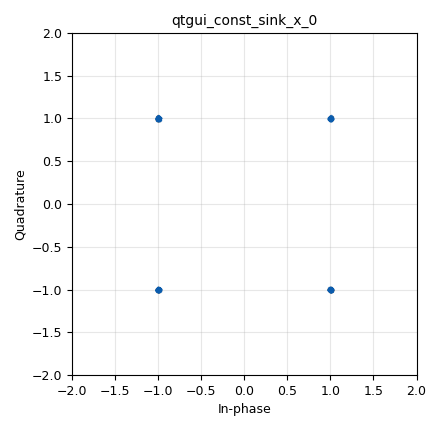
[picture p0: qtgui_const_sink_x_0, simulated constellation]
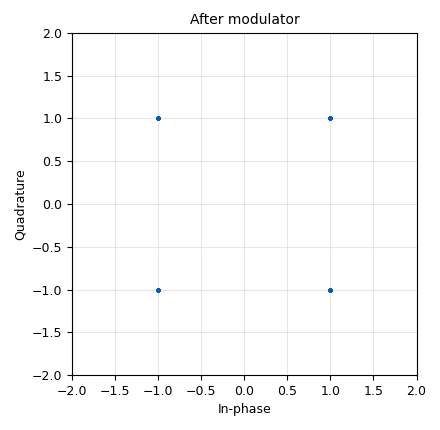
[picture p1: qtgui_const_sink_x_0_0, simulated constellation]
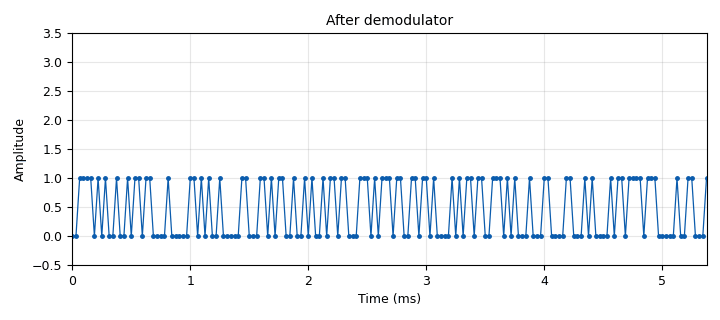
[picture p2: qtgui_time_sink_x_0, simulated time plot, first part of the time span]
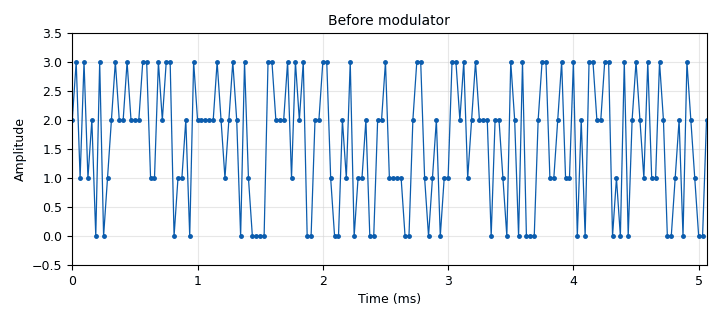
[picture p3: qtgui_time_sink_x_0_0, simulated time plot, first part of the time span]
<?xml version='1.0' encoding='utf-8'?>
<?grc format='1' created='3.7.10'?>
<flow_graph>
<block>
<key>options</key>
<param><key>id</key><value>psk_modulation_demodulation</value></param>
<param><key>author</key><value>Alexandros-Apostolos A. Boulogeorgos</value></param>
<param><key>generate_options</key><value>qt_gui</value></param>
<param><key>title</key><value>PSK  under AWGN</value></param>
</block>
<block>
<key>variable_qtgui_range</key>
<param><key>id</key><value>noise_amplitude</value></param>
<param><key>value</key><value>.01</value></param>
<param><key>orient</key><value>Qt.Horizontal</value></param>
<param><key>start</key><value>0</value></param>
<param><key>step</key><value>.001</value></param>
<param><key>stop</key><value>1</value></param>
</block>
<block>
<key>variable</key>
<param><key>id</key><value>samp_rate</value></param>
<param><key>value</key><value>32000</value></param>
</block>
<block>
<key>analog_noise_source_x</key>
<param><key>id</key><value>analog_noise_source_x_0</value></param>
<param><key>amp</key><value>noise_amplitude</value></param>
<param><key>noise_type</key><value>analog.GR_GAUSSIAN</value></param>
<param><key>type</key><value>complex</value></param>
<param><key>seed</key><value>0</value></param>
</block>
<block>
<key>analog_random_source_x</key>
<param><key>id</key><value>analog_random_source_x_0</value></param>
<param><key>max</key><value>4</value></param>
<param><key>min</key><value>0</value></param>
<param><key>num_samps</key><value>10000</value></param>
<param><key>type</key><value>byte</value></param>
<param><key>repeat</key><value>True</value></param>
</block>
<block>
<key>blocks_add_xx</key>
<param><key>id</key><value>blocks_add_xx_0</value></param>
<param><key>type</key><value>complex</value></param>
</block>
<block>
<key>blocks_throttle</key>
<param><key>id</key><value>blocks_throttle_0</value></param>
<param><key>samples_per_second</key><value>samp_rate</value></param>
<param><key>type</key><value>complex</value></param>
</block>
<block>
<key>blocks_uchar_to_float</key>
<param><key>id</key><value>blocks_uchar_to_float_0</value></param>
</block>
<block>
<key>blocks_uchar_to_float</key>
<param><key>id</key><value>blocks_uchar_to_float_1</value></param>
</block>
<block>
<key>digital_chunks_to_symbols_xx</key>
<param><key>id</key><value>digital_chunks_to_symbols_xx_0</value></param>
<param><key>dimension</key><value>1</value></param>
<param><key>in_type</key><value>byte</value></param>
<param><key>out_type</key><value>complex</value></param>
<param><key>symbol_table</key><value>[1+1j, 1-1j, -1+1j, -1-1j]</value></param>
</block>
<block>
<key>digital_psk_demod</key>
<param><key>id</key><value>digital_psk_demod_0</value></param>
<param><key>differential</key><value>True</value></param>
<param><key>excess_bw</key><value>0.35</value></param>
<param><key>freq_bw</key><value>6.28/100.0</value></param>
<param><key>mod_code</key><value>"gray"</value></param>
<param><key>constellation_points</key><value>4</value></param>
<param><key>phase_bw</key><value>6.28/100.0</value></param>
<param><key>samples_per_symbol</key><value>2</value></param>
<param><key>timing_bw</key><value>6.28/100.0</value></param>
</block>
<block>
<key>qtgui_const_sink_x</key>
<param><key>id</key><value>qtgui_const_sink_x_0</value></param>
<param><key>gui_hint</key><value>1,1</value></param>
<param><key>size</key><value>1024</value></param>
<param><key>type</key><value>complex</value></param>
</block>
<block>
<key>qtgui_const_sink_x</key>
<param><key>id</key><value>qtgui_const_sink_x_0_0</value></param>
<param><key>gui_hint</key><value>1,0</value></param>
<param><key>name</key><value>"After modulator"</value></param>
<param><key>size</key><value>1024</value></param>
<param><key>type</key><value>complex</value></param>
</block>
<block>
<key>qtgui_time_sink_x</key>
<param><key>id</key><value>qtgui_time_sink_x_0</value></param>
<param><key>gui_hint</key><value>0,1</value></param>
<param><key>color1</key><value>"blue"</value></param>
<param><key>label1</key><value></value></param>
<param><key>marker1</key><value>0</value></param>
<param><key>style1</key><value>3</value></param>
<param><key>name</key><value>"After demodulator"</value></param>
<param><key>size</key><value>1024</value></param>
<param><key>srate</key><value>samp_rate</value></param>
<param><key>type</key><value>float</value></param>
<param><key>ymax</key><value>3.5</value></param>
<param><key>ymin</key><value>-.5</value></param>
</block>
<block>
<key>qtgui_time_sink_x</key>
<param><key>id</key><value>qtgui_time_sink_x_0_0</value></param>
<param><key>gui_hint</key><value>0,0</value></param>
<param><key>color1</key><value>"blue"</value></param>
<param><key>label1</key><value></value></param>
<param><key>marker1</key><value>0</value></param>
<param><key>style1</key><value>3</value></param>
<param><key>name</key><value>"Before modulator"</value></param>
<param><key>size</key><value>1024</value></param>
<param><key>srate</key><value>samp_rate</value></param>
<param><key>type</key><value>float</value></param>
<param><key>ymax</key><value>3.5</value></param>
<param><key>ymin</key><value>-.5</value></param>
</block>
<connection><source_block_id>analog_noise_source_x_0</source_block_id><sink_block_id>blocks_add_xx_0</sink_block_id><source_key>0</source_key><sink_key>1</sink_key></connection>
<connection><source_block_id>analog_random_source_x_0</source_block_id><sink_block_id>blocks_uchar_to_float_1</sink_block_id><source_key>0</source_key><sink_key>0</sink_key></connection>
<connection><source_block_id>analog_random_source_x_0</source_block_id><sink_block_id>digital_chunks_to_symbols_xx_0</sink_block_id><source_key>0</source_key><sink_key>0</sink_key></connection>
<connection><source_block_id>blocks_add_xx_0</source_block_id><sink_block_id>blocks_throttle_0</sink_block_id><source_key>0</source_key><sink_key>0</sink_key></connection>
<connection><source_block_id>blocks_add_xx_0</source_block_id><sink_block_id>digital_psk_demod_0</sink_block_id><source_key>0</source_key><sink_key>0</sink_key></connection>
<connection><source_block_id>blocks_throttle_0</source_block_id><sink_block_id>qtgui_const_sink_x_0</sink_block_id><source_key>0</source_key><sink_key>0</sink_key></connection>
<connection><source_block_id>blocks_uchar_to_float_0</source_block_id><sink_block_id>qtgui_time_sink_x_0</sink_block_id><source_key>0</source_key><sink_key>0</sink_key></connection>
<connection><source_block_id>blocks_uchar_to_float_1</source_block_id><sink_block_id>qtgui_time_sink_x_0_0</sink_block_id><source_key>0</source_key><sink_key>0</sink_key></connection>
<connection><source_block_id>digital_chunks_to_symbols_xx_0</source_block_id><sink_block_id>blocks_add_xx_0</sink_block_id><source_key>0</source_key><sink_key>0</sink_key></connection>
<connection><source_block_id>digital_chunks_to_symbols_xx_0</source_block_id><sink_block_id>qtgui_const_sink_x_0_0</sink_block_id><source_key>0</source_key><sink_key>0</sink_key></connection>
<connection><source_block_id>digital_psk_demod_0</source_block_id><sink_block_id>blocks_uchar_to_float_0</sink_block_id><source_key>0</source_key><sink_key>0</sink_key></connection>
</flow_graph>
